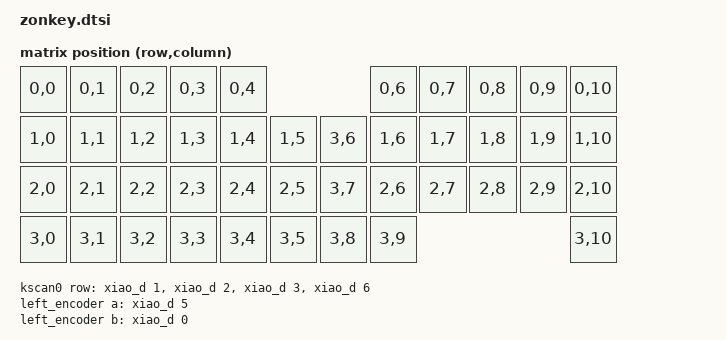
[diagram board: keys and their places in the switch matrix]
#include <dt-bindings/zmk/matrix_transform.h>
#include <dt-bindings/zmk/pointing.h> 
#include <input/input.h>

/ {
    chosen {
        zmk,kscan = &kscan0;
        zmk,matrix_transform = &default_transform;
    };

    default_transform: keymap_transform_0 {
        compatible = "zmk,matrix-transform";
        columns = <11>;
        rows = <4>;                
        map = <
            RC(0,0) RC(0,1) RC(0,2) RC(0,3) RC(0,4)                     RC(0,6) RC(0,7) RC(0,8) RC(0,9) RC(0,10)
            RC(1,0) RC(1,1) RC(1,2) RC(1,3) RC(1,4) RC(1,5)     RC(3,6) RC(1,6) RC(1,7) RC(1,8) RC(1,9) RC(1,10)
            RC(2,0) RC(2,1) RC(2,2) RC(2,3) RC(2,4) RC(2,5)     RC(3,7) RC(2,6) RC(2,7) RC(2,8) RC(2,9) RC(2,10)
            RC(3,0) RC(3,1) RC(3,2) RC(3,3) RC(3,4) RC(3,5)     RC(3,8) RC(3,9)                         RC(3,10)          
        >;
    };
    
    kscan0: kscan {
        compatible = "zmk,kscan-gpio-matrix";
        label = "KSCAN";
        diode-direction = "col2row";
        row-gpios
            = <&xiao_d 1 (GPIO_ACTIVE_HIGH | GPIO_PULL_DOWN)> 
            , <&xiao_d 2 (GPIO_ACTIVE_HIGH | GPIO_PULL_DOWN)> 
            , <&xiao_d 3 (GPIO_ACTIVE_HIGH | GPIO_PULL_DOWN)> 
            , <&xiao_d 6 (GPIO_ACTIVE_HIGH | GPIO_PULL_DOWN)>             
            ;
    };

    left_encoder: encoder_left {
        compatible = "alps,ec11";
        a-gpios = <&xiao_d 5 (GPIO_ACTIVE_HIGH | GPIO_PULL_UP)>;
        b-gpios = <&xiao_d 0 (GPIO_ACTIVE_HIGH | GPIO_PULL_UP)>;
        steps = <24>;
        status = "disabled";
    };

    right_encoder: encoder_right {
        status = "disabled";
    };

    sensors: sensors {
        compatible = "zmk,keymap-sensors";
        sensors = <&left_encoder &right_encoder>;
        triggers-per-rotation = <10>;
    };

    /* リスナー設定：トラックパッドの動きをカーソル移動に変換 */
    trackpad_listener {
        compatible = "zmk,input-behavior-listener";
        device = <&trackpad>;
        layers = <0>;
        evt-type = <INPUT_EV_REL>;
        x-input-code = <INPUT_REL_X>;
        y-input-code = <INPUT_REL_Y>;
        scale-multiplier = <1>;
        scale-divisor = <1>;
    };
};

/* I2C設定：XIAO BLEの標準I2Cピン(D4, D5)を使用 */
&i2c0 {
    status = "okay";
    pinctrl-0 = <&i2c0_default>;
    pinctrl-1 = <&i2c0_sleep>;
    pinctrl-names = "default", "sleep";

    trackpad: trackpad@2a {
        compatible = "cirque,pinnacle";
        reg = <0x2a>;
        /* DR (Interrupt) ピンの指定：ここでは空いている D7 (P0.10) を想定 */
        /* 回路に合わせて &xiao_d 7 などの番号に変更してください */
        dr-gpios = <&xiao_d 7 (GPIO_ACTIVE_HIGH)>; 
        sensitivity = <1>;
        sleep;
    };
};
